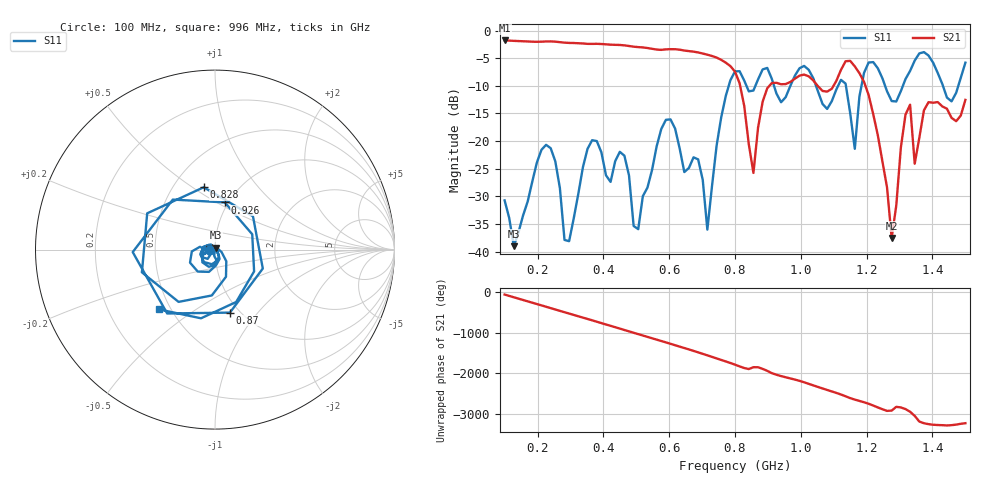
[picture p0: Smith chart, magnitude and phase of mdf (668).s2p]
! NanoVNA-App
! Date: 2025-09-25 15:43:37
! Start: 100MHz Stop: 1,5GHz Points: 101
! S-Parameter data: F S11 S21 S12 S22
# Hz S RI R 50
!  Frequency  S11_Real  S11_Imag  S21_Real  S21_Imag  S12_Real  S12_Imag  S22_Real  S22_Imag
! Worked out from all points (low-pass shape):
!   101 points, 100 MHz to 1.5 GHz, reference 50 ohm
!   highest |S21| = -1.80 dB at 100 MHz (marker M1); lowest = -37.5 dB at 1.276 GHz (marker M2)
!   |S21| within 3 dB of the highest: start of sweep to 739.4 MHz
!   lowest |S11| = -39.0 dB at 128 MHz (marker M3), VSWR 1.02, Z = 50.3 + j1.07 ohm
!   |S11| at or under -10 dB: start of sweep to 781 MHz; 918.5 MHz to 968.3 MHz (49.77 MHz wide, 5.28 % of centre); 1.046 GHz to 1.113 GHz (67.29 MHz wide, 6.23 % of centre) (the widest 3 of 7)
!   S12 and S22 are empty: the file has one direction only
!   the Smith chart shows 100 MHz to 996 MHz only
!   S11 on the Smith chart (normalised r, x): 100 MHz: 0.94, -0.01; 828 MHz: 0.70, +0.56; 870 MHz: 0.90, -0.73; 926 MHz: 0.96, +0.55; 996 MHz: 0.43, -0.37
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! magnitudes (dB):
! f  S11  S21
! 100 MHz  -30.7  -1.8
! 128 MHz  -39.0  -1.9
! 212 MHz  -21.6  -2.0
! 282 MHz  -37.9  -2.2
! 338 MHz  -24.7  -2.3
! 464 MHz  -22.7  -2.7
! 506 MHz  -35.9  -3.0
! 576 MHz  -17.8  -3.5
! 716 MHz  -36.0  -4.4
! 800 MHz  -7.4  -7.4
! 828 MHz  -9.0  -13.6
! 856 MHz  -10.9  -25.8
! 870 MHz  -8.9  -17.6
! 926 MHz  -11.4  -9.5
! 996 MHz  -6.8  -8.2
! 1.038 GHz  -8.7  -9.0
! 1.164 GHz  -21.4  -6.5
! 1.192 GHz  -7.7  -9.3
! 1.276 GHz  -12.8  -37.5
! 1.332 GHz  -7.3  -13.4
! 1.346 GHz  -5.4  -24.1
! 1.5 GHz  -5.8  -12.6
